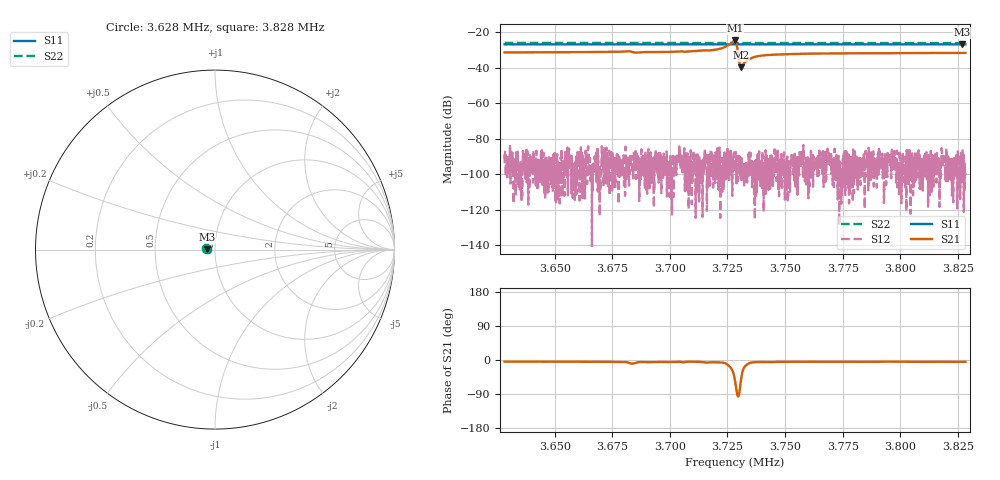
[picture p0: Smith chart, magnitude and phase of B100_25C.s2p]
# Hz S dB R 50.000
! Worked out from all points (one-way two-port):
!   6401 points, 3.628 MHz to 3.828 MHz, reference 50 ohm
!   highest |S21| = -24.56 dB at 3.728 MHz (marker M1); lowest = -39.6 dB at 3.731 MHz (marker M2)
!   lowest |S11| = -26.8 dB at 3.827 MHz (marker M3), VSWR 1.10, Z = 45.6 + j0.344 ohm
!   |S11| at or under -10 dB: start of sweep to end of sweep
!   |S22| runs from -26.0 to -25.9 dB; largest |S21 - S12| = 0.059
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3628281  -26.75 173.6  -31.28 -4.3  -88.93 114.6  -25.93 171.9
3661625  -26.74 173.9  -31.13 -4.6  -93.01 8.3  -25.94 172.3
3681844  -26.75 174.0  -30.64 -6.8  -98.50 53.7  -25.95 172.4
3685375  -26.75 174.1  -31.46 -7.0  -94.01 23.0  -25.95 172.5
3694968  -26.75 174.1  -31.11 -5.4  -89.31 30.4  -25.96 172.5
3718500  -26.76 174.3  -30.01 -5.9  -90.25 -17.2  -25.97 172.8
3722750  -26.76 174.4  -28.87 -6.8  -97.44 51.1  -25.97 172.8
3725594  -26.76 174.4  -27.05 -15.1  -95.49 33.7  -25.98 172.8
3727562  -26.76 174.4  -25.08 -34.3  -92.40 127.4  -25.98 172.9
3728281  -26.76 174.4  -24.56 -54.3  -98.91 -14.0  -25.98 172.8
3728625  -26.76 174.4  -25.13 -68.5  -88.22 -54.2  -25.98 172.9
3729000  -26.76 174.4  -26.88 -83.8  -96.34 -24.5  -25.98 172.9
3730312  -26.76 174.5  -37.83 -80.1  -92.70 43.8  -25.98 172.9
3730937  -26.76 174.5  -39.59 -50.1  -90.20 -154.9  -25.98 172.8
3731500  -26.76 174.5  -38.72 -31.0  -99.49 125.7  -25.98 172.9
3733218  -26.76 174.5  -36.19 -13.2  -96.05 -35.2  -25.98 172.9
3735062  -26.76 174.5  -34.71 -7.1  -91.02 85.7  -25.99 172.9
3739031  -26.76 174.6  -33.27 -5.4  -92.18 3.5  -25.99 172.9
3761625  -26.77 174.7  -31.99 -4.7  -98.66 44.3  -26.00 173.1
3794968  -26.77 175.0  -31.69 -4.3  -91.79 28.1  -26.02 173.4
3826875  -26.79 175.3  -31.56 -4.8  -93.95 -158.8  -26.04 173.7
3828281  -26.78 175.3  -31.57 -4.9  -100.28 69.4  -26.04 173.7
